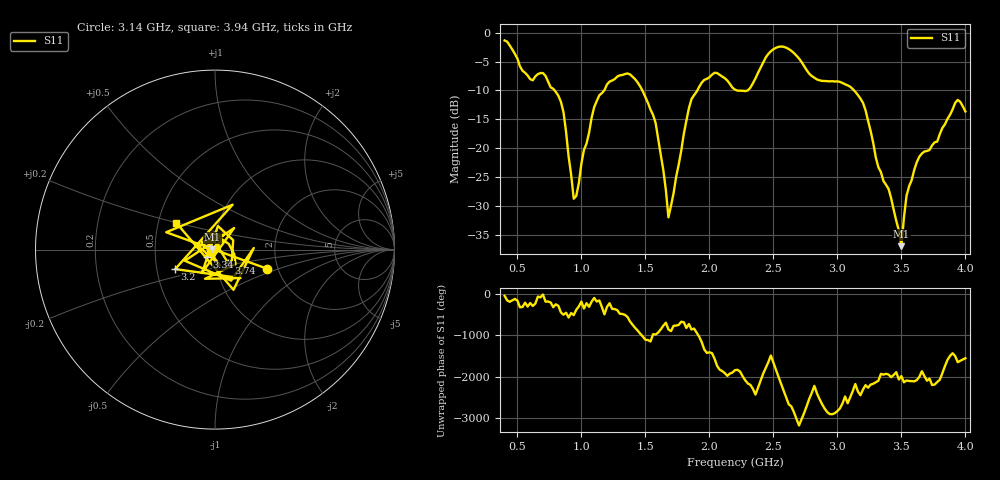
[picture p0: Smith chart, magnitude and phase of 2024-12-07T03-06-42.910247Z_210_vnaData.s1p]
!Created with skrf (http://scikit-rf.org).
# Hz S RI R 50.0
!freq ReS11 ImS11
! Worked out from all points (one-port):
!   181 points, 400 MHz to 4 GHz, reference 50 ohm
!   lowest |S11| = -37.0 dB at 3.5 GHz (marker M1), VSWR 1.03, Z = 48.6 + j0.216 ohm
!   |S11| at or under -10 dB: 790.9 MHz to 1.178 GHz (387 MHz wide, 39.3 % of centre); 1.476 GHz to 1.905 GHz (429 MHz wide, 25.4 % of centre); 3.131 GHz to end of sweep (the widest 3 of 4)
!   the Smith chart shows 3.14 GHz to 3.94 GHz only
!   S11 on the Smith chart (normalised r, x): 3.14 GHz: 1.75, -0.41; 3.2 GHz: 0.62, -0.14; 3.34 GHz: 0.91, -0.08; 3.74 GHz: 1.15, -0.18; 3.94 GHz: 0.62, +0.20
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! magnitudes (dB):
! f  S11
! 400 MHz  -1.3
! 600 MHz  -8.0
! 720 MHz  -7.5
! 860 MHz  -13.8
! 940 MHz  -28.8
! 1.1 GHz  -12.9
! 1.3 GHz  -7.4
! 1.42 GHz  -8.1
! 1.56 GHz  -14.2
! 1.64 GHz  -23.8
! 1.68 GHz  -32.0
! 1.76 GHz  -22.9
! 1.84 GHz  -13.1
! 1.94 GHz  -8.6
! 2.06 GHz  -7.0
! 2.2 GHz  -9.9
! 2.3 GHz  -10.0
! 2.5 GHz  -2.9
! 2.66 GHz  -3.5
! 3.1 GHz  -9.3
! 3.14 GHz  -10.2
! 3.2 GHz  -12.1
! 3.34 GHz  -24.2
! 3.5 GHz  -37.0
! 3.56 GHz  -26.6
! 3.74 GHz  -19.5
! 3.94 GHz  -11.6
! 4 GHz  -13.6
